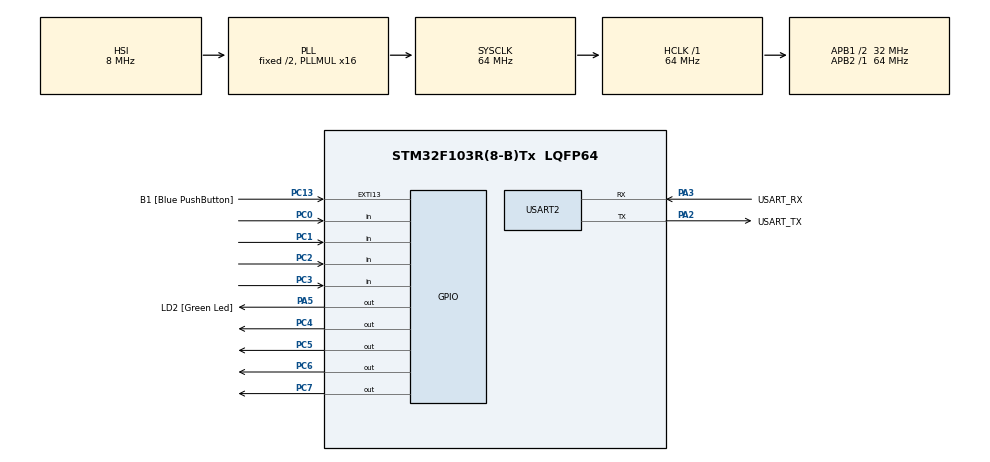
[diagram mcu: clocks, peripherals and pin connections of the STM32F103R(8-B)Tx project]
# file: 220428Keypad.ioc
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Mcu.Family=STM32F1
Mcu.Name=STM32F103R(8-B)Tx
Mcu.Package=LQFP64
NVIC.EXTI15_10_IRQn=true\:0\:0\:false\:false\:true\:true\:true\:true
NVIC.PriorityGroup=NVIC_PRIORITYGROUP_4
PA13.GPIO_Label=TMS
PA13.Mode=Serial_Wire
PA13.Signal=SYS_JTMS-SWDIO
PA14.GPIO_Label=TCK
PA14.Mode=Serial_Wire
PA14.Signal=SYS_JTCK-SWCLK
PA2.GPIO_Label=USART_TX
PA2.GPIO_Mode=GPIO_MODE_AF_PP
PA2.GPIO_PuPd=GPIO_NOPULL
PA2.GPIO_Speed=GPIO_SPEED_FREQ_LOW
PA2.Mode=Asynchronous
PA2.Signal=USART2_TX
PA3.GPIO_Label=USART_RX
PA3.GPIO_Mode=GPIO_MODE_AF_PP
PA3.GPIO_PuPd=GPIO_NOPULL
PA3.GPIO_Speed=GPIO_SPEED_FREQ_LOW
PA3.Mode=Asynchronous
PA3.Signal=USART2_RX
PA5.GPIO_Label=LD2 [Green Led]
PA5.GPIO_ModeDefaultOutputPP=GPIO_MODE_OUTPUT_PP
PA5.GPIO_PuPd=GPIO_NOPULL
PA5.GPIO_Speed=GPIO_SPEED_FREQ_LOW
PA5.Signal=GPIO_Output
PB3.GPIO_Label=SWO
PB3.Signal=SYS_JTDO-TRACESWO
PC0.Signal=GPIO_Input
PC1.Signal=GPIO_Input
PC13-TAMPER-RTC.GPIO_Label=B1 [Blue PushButton]
PC13-TAMPER-RTC.GPIO_PuPd=GPIO_NOPULL
PC13-TAMPER-RTC.Signal=GPXTI13
PC14-OSC32_IN.Mode=LSE-External-Oscillator
PC14-OSC32_IN.Signal=RCC_OSC32_IN
PC15-OSC32_OUT.Mode=LSE-External-Oscillator
PC15-OSC32_OUT.Signal=RCC_OSC32_OUT
PC2.Signal=GPIO_Input
PC3.Signal=GPIO_Input
PC4.Signal=GPIO_Output
PC5.Signal=GPIO_Output
PC6.Signal=GPIO_Output
PC7.Signal=GPIO_Output
PD0-OSC_IN.Mode=HSE-External-Clock-Source
PD0-OSC_IN.Signal=RCC_OSC_IN
PD1-OSC_OUT.Mode=HSE-External-Clock-Source
PD1-OSC_OUT.Signal=RCC_OSC_OUT
ProjectManager.HeapSize=0x200
ProjectManager.StackSize=0x400
ProjectManager.TargetToolchain=STM32CubeIDE
RCC.AHBFreq_Value=64000000
RCC.APB1CLKDivider=RCC_HCLK_DIV2
RCC.APB1Freq_Value=32000000
RCC.APB1TimFreq_Value=64000000
RCC.APB2Freq_Value=64000000
RCC.APB2TimFreq_Value=64000000
RCC.HCLKFreq_Value=64000000
RCC.PLLMUL=RCC_PLL_MUL16
RCC.RTCClockSelection=RCC_RTCCLKSOURCE_LSE
RCC.SYSCLKFreq_VALUE=64000000
RCC.SYSCLKSource=RCC_SYSCLKSOURCE_PLLCLK
RCC.USBFreq_Value=64000000
TIM2.Prescaler=64-1
USART2.VirtualMode=VM_ASYNC
VP_TIM2_VS_ClockSourceINT.Mode=Internal
board=NUCLEO-F103RB

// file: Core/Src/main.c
/* USER CODE BEGIN Header */
/**
  ******************************************************************************
  * @file           : main.c
  * @brief          : Main program body
  ******************************************************************************
  * @attention
  *
  * Copyright (c) 2022 STMicroelectronics.
  * All rights reserved.
  *
  * This software is licensed under terms that can be found in the LICENSE file
  * in the root directory of this software component.
  * If no LICENSE file comes with this software, it is provided AS-IS.
  *
  ******************************************************************************
  */
/* USER CODE END Header */
#include "main.h"

/* USER CODE BEGIN Includes */
#include "stdio.h"
/* USER CODE END Includes */

 TIM_HandleTypeDef htim2;

UART_HandleTypeDef huart2;

void SystemClock_Config(void);
static void MX_GPIO_Init(void);
static void MX_USART2_UART_Init(void);
static void MX_TIM2_Init(void);

/* USER CODE BEGIN 0 */
#ifdef __GNUC__
/* With GCC, small printf (option LD Linker->Libraries->Small printf
   set to 'Yes') calls __io_putchar() */
#define PUTCHAR_PROTOTYPE int __io_putchar(int ch)
#else
#define PUTCHAR_PROTOTYPE int fputc(int ch, FILE *f)
#endif /* __GNUC__ */

PUTCHAR_PROTOTYPE
{
  /* Place your implementation of fputc here */
  /* e.g. write a character to the USART1 and Loop until the end of transmission */
  HAL_UART_Transmit(&huart2, (uint8_t *)&ch, 1, 0xFFFF);

  return ch;
}
void us_delay(uint16_t delay)
{
	__HAL_TIM_SET_COUNTER(&htim2, 0);
	while((__HAL_TIM_GET_COUNTER(&htim2)) < delay);
}

/*-----------------------------------------------------------------------------*/
int getKeyNumber()
{
	int scanValue = 0;
	for(int i = 0; i < 4; i++)
	{
		GPIOC -> ODR = ~(0x10 << i);//KEYPAD_PORT_OUT = ~(0x10 << i)
		us_delay(500);
		if((GPIOC -> IDR & 0x0F) == 0x0E)//KEYPAD_PORT_IN = ~(0x10 << i)
		{
			scanValue = i + 1;
			break;
		}
		else if((GPIOC -> IDR & 0x0F) == 0x0D)//GPIOC -> IDR = ~(0x10 << i)
		{
			scanValue = i + 5;
			break;
		}
		else if((GPIOC -> IDR & 0x0F) == 0x0B)//GPIOC -> IDR = ~(0x10 << i)
		{
			scanValue = i + 9;
			break;
		}
		else if((GPIOC -> IDR & 0x0F) == 0x07)//GPIOC -> IDR = ~(0x10 << i)
		{
			scanValue = i + 13;
			break;
		}
	}
	return scanValue;
}
/* USER CODE END 0 */

int main(void)
{

  /* MCU Configuration--------------------------------------------------------*/

  /* Reset of all peripherals, Initializes the Flash interface and the Systick. */
  HAL_Init();

  /* Configure the system clock */
  SystemClock_Config();

  /* Initialize all configured peripherals */
  MX_GPIO_Init();
  MX_USART2_UART_Init();
  MX_TIM2_Init();
  /* USER CODE BEGIN 2 */
HAL_TIM_Base_Start(&htim2);
  /* USER CODE END 2 */

  /* Infinite loop */
  /* USER CODE BEGIN WHILE */
  while (1)
  {
	  if(getKeyNumber()!=0)
	  printf("%d Button Pressed!\r\n",getKeyNumber());
    /* USER CODE END WHILE */

  }
}

void SystemClock_Config(void)
{
  RCC_OscInitTypeDef RCC_OscInitStruct = {0};
  RCC_ClkInitTypeDef RCC_ClkInitStruct = {0};

  /** Initializes the RCC Oscillators according to the specified parameters
  * in the RCC_OscInitTypeDef structure.
  */
  RCC_OscInitStruct.OscillatorType = RCC_OSCILLATORTYPE_HSI;
  RCC_OscInitStruct.HSIState = RCC_HSI_ON;
  RCC_OscInitStruct.HSICalibrationValue = RCC_HSICALIBRATION_DEFAULT;
  RCC_OscInitStruct.PLL.PLLState = RCC_PLL_ON;
  RCC_OscInitStruct.PLL.PLLSource = RCC_PLLSOURCE_HSI_DIV2;
  RCC_OscInitStruct.PLL.PLLMUL = RCC_PLL_MUL16;
  if (HAL_RCC_OscConfig(&RCC_OscInitStruct) != HAL_OK)
  {
    Error_Handler();
  }

  /** Initializes the CPU, AHB and APB buses clocks
  */
  RCC_ClkInitStruct.ClockType = RCC_CLOCKTYPE_HCLK|RCC_CLOCKTYPE_SYSCLK
                              |RCC_CLOCKTYPE_PCLK1|RCC_CLOCKTYPE_PCLK2;
  RCC_ClkInitStruct.SYSCLKSource = RCC_SYSCLKSOURCE_PLLCLK;
  RCC_ClkInitStruct.AHBCLKDivider = RCC_SYSCLK_DIV1;
  RCC_ClkInitStruct.APB1CLKDivider = RCC_HCLK_DIV2;
  RCC_ClkInitStruct.APB2CLKDivider = RCC_HCLK_DIV1;

  if (HAL_RCC_ClockConfig(&RCC_ClkInitStruct, FLASH_LATENCY_2) != HAL_OK)
  {
    Error_Handler();
  }
}

static void MX_TIM2_Init(void)
{

  TIM_ClockConfigTypeDef sClockSourceConfig = {0};
  TIM_MasterConfigTypeDef sMasterConfig = {0};

  htim2.Instance = TIM2;
  htim2.Init.Prescaler = 64-1;
  htim2.Init.CounterMode = TIM_COUNTERMODE_UP;
  htim2.Init.Period = 65535;
  htim2.Init.ClockDivision = TIM_CLOCKDIVISION_DIV1;
  htim2.Init.AutoReloadPreload = TIM_AUTORELOAD_PRELOAD_DISABLE;
  if (HAL_TIM_Base_Init(&htim2) != HAL_OK)
  {
    Error_Handler();
  }
  sClockSourceConfig.ClockSource = TIM_CLOCKSOURCE_INTERNAL;
  if (HAL_TIM_ConfigClockSource(&htim2, &sClockSourceConfig) != HAL_OK)
  {
    Error_Handler();
  }
  sMasterConfig.MasterOutputTrigger = TIM_TRGO_RESET;
  sMasterConfig.MasterSlaveMode = TIM_MASTERSLAVEMODE_DISABLE;
  if (HAL_TIMEx_MasterConfigSynchronization(&htim2, &sMasterConfig) != HAL_OK)
  {
    Error_Handler();
  }

}

static void MX_USART2_UART_Init(void)
{

  huart2.Instance = USART2;
  huart2.Init.BaudRate = 115200;
  huart2.Init.WordLength = UART_WORDLENGTH_8B;
  huart2.Init.StopBits = UART_STOPBITS_1;
  huart2.Init.Parity = UART_PARITY_NONE;
  huart2.Init.Mode = UART_MODE_TX_RX;
  huart2.Init.HwFlowCtl = UART_HWCONTROL_NONE;
  huart2.Init.OverSampling = UART_OVERSAMPLING_16;
  if (HAL_UART_Init(&huart2) != HAL_OK)
  {
    Error_Handler();
  }

}

static void MX_GPIO_Init(void)
{
  GPIO_InitTypeDef GPIO_InitStruct = {0};

  /* GPIO Ports Clock Enable */
  __HAL_RCC_GPIOC_CLK_ENABLE();
  __HAL_RCC_GPIOD_CLK_ENABLE();
  __HAL_RCC_GPIOA_CLK_ENABLE();
  __HAL_RCC_GPIOB_CLK_ENABLE();

  /*Configure GPIO pin Output Level */
  HAL_GPIO_WritePin(LD2_GPIO_Port, LD2_Pin, GPIO_PIN_RESET);

  /*Configure GPIO pin Output Level */
  HAL_GPIO_WritePin(GPIOC, GPIO_PIN_4|GPIO_PIN_5|GPIO_PIN_6|GPIO_PIN_7, GPIO_PIN_RESET);

  /*Configure GPIO pin : B1_Pin */
  GPIO_InitStruct.Pin = B1_Pin;
  GPIO_InitStruct.Mode = GPIO_MODE_IT_RISING;
  GPIO_InitStruct.Pull = GPIO_NOPULL;
  HAL_GPIO_Init(B1_GPIO_Port, &GPIO_InitStruct);

  /*Configure GPIO pins : PC0 PC1 PC2 PC3 */
  GPIO_InitStruct.Pin = GPIO_PIN_0|GPIO_PIN_1|GPIO_PIN_2|GPIO_PIN_3;
  GPIO_InitStruct.Mode = GPIO_MODE_INPUT;
  GPIO_InitStruct.Pull = GPIO_NOPULL;
  HAL_GPIO_Init(GPIOC, &GPIO_InitStruct);

  /*Configure GPIO pin : LD2_Pin */
  GPIO_InitStruct.Pin = LD2_Pin;
  GPIO_InitStruct.Mode = GPIO_MODE_OUTPUT_PP;
  GPIO_InitStruct.Pull = GPIO_NOPULL;
  GPIO_InitStruct.Speed = GPIO_SPEED_FREQ_LOW;
  HAL_GPIO_Init(LD2_GPIO_Port, &GPIO_InitStruct);

  /*Configure GPIO pins : PC4 PC5 PC6 PC7 */
  GPIO_InitStruct.Pin = GPIO_PIN_4|GPIO_PIN_5|GPIO_PIN_6|GPIO_PIN_7;
  GPIO_InitStruct.Mode = GPIO_MODE_OUTPUT_PP;
  GPIO_InitStruct.Pull = GPIO_NOPULL;
  GPIO_InitStruct.Speed = GPIO_SPEED_FREQ_LOW;
  HAL_GPIO_Init(GPIOC, &GPIO_InitStruct);

  /* EXTI interrupt init*/
  HAL_NVIC_SetPriority(EXTI15_10_IRQn, 0, 0);
  HAL_NVIC_EnableIRQ(EXTI15_10_IRQn);

}

void Error_Handler(void)
{
  __disable_irq();
  while (1)
  {
  }
}
